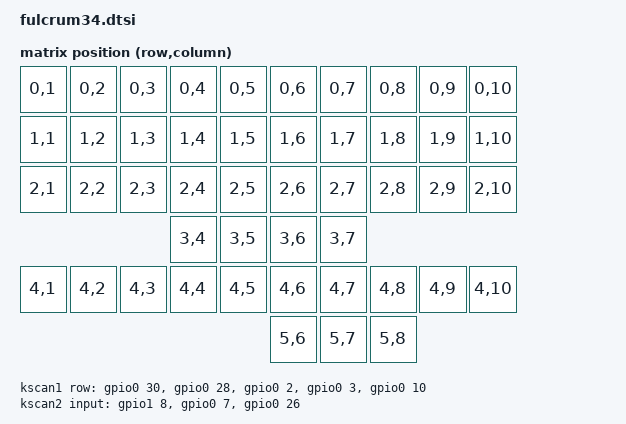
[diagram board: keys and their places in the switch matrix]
/*
 * Copyright (c) 2022 The ZMK Contributors
 *
 * SPDX-License-Identifier: MIT
 */

#include <dt-bindings/zmk/matrix_transform.h>

/ {

    chosen {
        zephyr,display = &oled;
		zmk,kscan = &kscan0;
        zmk,matrix-transform = &default_transform;
		zmk,battery = &vbatt;
    };

    default_transform: keymap_transform_0 {
        compatible = "zmk,matrix-transform";
        columns = <10>;
        rows = <6>;
// | SW2  | SW3  | SW4  | SW5  | SW6  |   | SW6  | SW5  | SW4  | SW3  | SW2  |
// | SW8  | SW9  | SW10 | SW11 | SW12 |   | SW12 | SW11 | SW10 | SW9  | SW8  |
// | SW14 | SW15 | SW16 | SW17 | SW18 |   | SW18 | SW17 | SW16 | SW15 | SW14 |
//               		| SW20 | SW21 |   | SW21 | SW20 |
// | SWDW | SWBK | SWIN | SWUP | SWFW |   | SWBK | SWUP | SWIN | SWFW | SWDW |
//                                        | SWA  | SWB  | SWC  |
        map = <
RC(0,1) RC(0,2) RC(0,3) RC(0,4) RC(0,5)  RC(0,6) RC(0,7) RC(0,8) RC(0,9) RC(0,10)
RC(1,1) RC(1,2) RC(1,3) RC(1,4) RC(1,5)  RC(1,6) RC(1,7) RC(1,8) RC(1,9) RC(1,10)
RC(2,1) RC(2,2) RC(2,3) RC(2,4) RC(2,5)  RC(2,6) RC(2,7) RC(2,8) RC(2,9) RC(2,10)
						RC(3,4) RC(3,5)  RC(3,6) RC(3,7)
RC(4,1) RC(4,2) RC(4,3) RC(4,4) RC(4,5)  RC(4,6) RC(4,7) RC(4,8) RC(4,9) RC(4,10)
                                         RC(5,6) RC(5,7) RC(5,8)
        >;
    };

	kscan0: kscan_composite {
		compatible = "zmk,kscan-composite";
		columns = <10>;
		rows = <6>;
		
		matrix {
			kscan = <&kscan1>;
		};
		
		direct {
			kscan = <&kscan2>;
			row-offset = <5>;
		};
	};	

    kscan1: kscan_matrix {
        compatible = "zmk,kscan-gpio-matrix";
        diode-direction = "col2row";
        row-gpios
            = <&gpio0 30 (GPIO_PULL_DOWN | GPIO_ACTIVE_HIGH)>
            , <&gpio0 28 (GPIO_PULL_DOWN | GPIO_ACTIVE_HIGH)>
            , <&gpio0 2 (GPIO_PULL_DOWN | GPIO_ACTIVE_HIGH)>
            , <&gpio0 3 (GPIO_PULL_DOWN | GPIO_ACTIVE_HIGH)>
			, <&gpio0 10 (GPIO_PULL_DOWN | GPIO_ACTIVE_HIGH)>
            ;
    };
	
	kscan2: kscan_direct {
		compatible = "zmk,kscan-gpio-direct";
		input-gpios
			= <&gpio1 8 (GPIO_ACTIVE_LOW | GPIO_PULL_UP)>
			, <&gpio0 7 (GPIO_ACTIVE_LOW | GPIO_PULL_UP)>
			, <&gpio0 26 (GPIO_ACTIVE_LOW | GPIO_PULL_UP)>
			;
	};

vbatt: vbatt {
        compatible = "zmk,battery-nrf-vddh";
    };
	
};

&feather_i2c {
    status = "okay";

    oled: sh1106@3c {
        compatible = "sinowealth,sh1106";
        reg = <0x3c>;
        width = <128>;
        height = <64>;
        segment-offset = <0>;
        page-offset = <0x62>;
        display-offset = <0x62>;
        multiplex-ratio = <0x7f>;
        segment-remap;
        com-invdir;
        com-sequential;
        inversion-on;
        prechargep = <0x22>;
		reset-gpios;
    };
};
